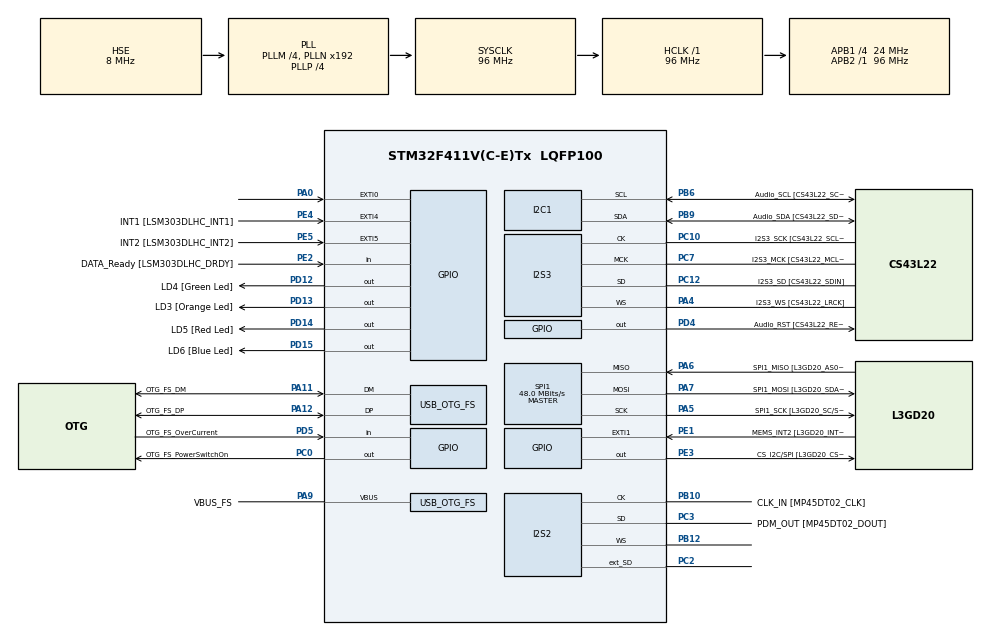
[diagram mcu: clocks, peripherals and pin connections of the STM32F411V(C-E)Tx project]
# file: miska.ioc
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I2S2.AudioFreq=I2S_AUDIOFREQ_96K
I2S2.ErrorAudioFreq=0.15 %
I2S2.FullDuplexMode=I2S_FULLDUPLEXMODE_ENABLE
I2S2.Instance=SPI$Index
I2S2.RealAudioFreq=96.153 KHz
I2S2.VirtualMode=I2S_MODE_MASTER
I2S3.AudioFreq=I2S_AUDIOFREQ_96K
I2S3.ErrorAudioFreq=-6.99 %
I2S3.FullDuplexMode=I2S_FULLDUPLEXMODE_DISABLE
I2S3.Instance=SPI$Index
I2S3.RealAudioFreq=89.285 KHz
I2S3.VirtualMode=I2S_MODE_MASTER
Mcu.Family=STM32F4
Mcu.Name=STM32F411V(C-E)Tx
Mcu.Package=LQFP100
NVIC.OTG_FS_IRQn=true\:0\:0\:false\:false\:true\:true\:true
NVIC.PriorityGroup=NVIC_PRIORITYGROUP_0
PA0-WKUP.GPIO_ModeDefaultEXTI=GPIO_MODE_EVT_RISING
PA0-WKUP.Signal=GPXTI0
PA10.GPIO_Label=OTG_FS_ID
PA10.Signal=USB_OTG_FS_ID
PA11.GPIO_Label=OTG_FS_DM
PA11.Mode=Device_Only
PA11.Signal=USB_OTG_FS_DM
PA12.GPIO_Label=OTG_FS_DP
PA12.Mode=Device_Only
PA12.Signal=USB_OTG_FS_DP
PA13.GPIO_Label=SWDIO
PA13.Mode=Serial_Wire
PA13.Signal=SYS_JTMS-SWDIO
PA14.GPIO_Label=SWCLK
PA14.Mode=Serial_Wire
PA14.Signal=SYS_JTCK-SWCLK
PA4.GPIO_Label=I2S3_WS [CS43L22_LRCK]
PA4.GPIO_Mode=GPIO_MODE_AF_PP
PA4.GPIO_PuPd=GPIO_NOPULL
PA4.GPIO_Speed=GPIO_SPEED_FREQ_LOW
PA4.Mode=Half_Duplex_Master
PA4.Signal=I2S3_WS
PA5.GPIO_Label=SPI1_SCK [L3GD20_SC/SPC]
PA5.Mode=Full_Duplex_Master
PA5.Signal=SPI1_SCK
PA6.GPIO_Label=SPI1_MISO [L3GD20_AS0/SDO]
PA6.Mode=Full_Duplex_Master
PA6.Signal=SPI1_MISO
PA7.GPIO_Label=SPI1_MOSI [L3GD20_SDA/SDI/SDO]
PA7.Mode=Full_Duplex_Master
PA7.Signal=SPI1_MOSI
PA9.GPIO_Label=VBUS_FS
PA9.Mode=Activate_VBUS
PA9.Signal=USB_OTG_FS_VBUS
PB10.GPIO_Label=CLK_IN [MP45DT02_CLK]
PB10.Mode=Full_Duplex_Master
PB10.Signal=I2S2_CK
PB12.Mode=Full_Duplex_Master
PB12.Signal=I2S2_WS
PB3.GPIO_Label=SWO
PB3.Signal=SYS_JTDO-SWO
PB6.GPIO_Label=Audio_SCL [CS43L22_SCL]
PB6.GPIO_Mode=GPIO_MODE_AF_OD
PB6.GPIO_PuPd=GPIO_NOPULL
PB6.GPIO_Speed=GPIO_SPEED_FREQ_LOW
PB6.Mode=I2C
PB6.Signal=I2C1_SCL
PB9.GPIO_Label=Audio_SDA [CS43L22_SDA]
PB9.GPIO_Mode=GPIO_MODE_AF_OD
PB9.GPIO_PuPd=GPIO_NOPULL
PB9.GPIO_Speed=GPIO_SPEED_FREQ_LOW
PB9.Mode=I2C
PB9.Signal=I2C1_SDA
PC0.GPIO_Label=OTG_FS_PowerSwitchOn
PC0.PinState=GPIO_PIN_SET
PC0.Signal=GPIO_Output
PC10.GPIO_Label=I2S3_SCK [CS43L22_SCLK]
PC10.GPIO_Mode=GPIO_MODE_AF_PP
PC10.GPIO_PuPd=GPIO_NOPULL
PC10.GPIO_Speed=GPIO_SPEED_FREQ_LOW
PC10.Mode=Half_Duplex_Master
PC10.Signal=I2S3_CK
PC12.GPIO_Label=I2S3_SD [CS43L22_SDIN]
PC12.GPIO_Mode=GPIO_MODE_AF_PP
PC12.GPIO_PuPd=GPIO_NOPULL
PC12.GPIO_Speed=GPIO_SPEED_FREQ_LOW
PC12.Mode=Half_Duplex_Master
PC12.Signal=I2S3_SD
PC14-OSC32_IN.GPIO_Label=PC14-OSC32_IN
PC14-OSC32_IN.Signal=RCC_OSC32_IN
PC15-OSC32_OUT.GPIO_Label=PC15-OSC32_OUT
PC15-OSC32_OUT.Signal=RCC_OSC32_OUT
PC2.Mode=Full_Duplex_Master
PC2.Signal=I2S2_ext_SD
PC3.GPIO_Label=PDM_OUT [MP45DT02_DOUT]
PC3.Mode=Full_Duplex_Master
PC3.Signal=I2S2_SD
PC7.GPIO_Label=I2S3_MCK [CS43L22_MCLK]
PC7.GPIO_Mode=GPIO_MODE_AF_PP
PC7.GPIO_PuPd=GPIO_NOPULL
PC7.GPIO_Speed=GPIO_SPEED_FREQ_LOW
PC7.Mode=Master_Clock_Activated
PC7.Signal=I2S3_MCK
PD12.GPIO_Label=LD4 [Green Led]
PD12.GPIO_PuPd=GPIO_NOPULL
PD12.GPIO_Speed=GPIO_SPEED_FREQ_LOW
PD12.Signal=GPIO_Output
PD13.GPIO_Label=LD3 [Orange Led]
PD13.GPIO_PuPd=GPIO_NOPULL
PD13.GPIO_Speed=GPIO_SPEED_FREQ_LOW
PD13.Signal=GPIO_Output
PD14.GPIO_Label=LD5 [Red Led]
PD14.GPIO_PuPd=GPIO_NOPULL
PD14.GPIO_Speed=GPIO_SPEED_FREQ_LOW
PD14.Signal=GPIO_Output
PD15.GPIO_Label=LD6 [Blue Led]
PD15.GPIO_PuPd=GPIO_NOPULL
PD15.GPIO_Speed=GPIO_SPEED_FREQ_LOW
PD15.Signal=GPIO_Output
PD4.GPIO_Label=Audio_RST [CS43L22_RESET]
PD4.Signal=GPIO_Output
PD5.GPIO_Label=OTG_FS_OverCurrent
PD5.Signal=GPIO_Input
PE1.GPIO_Label=MEMS_INT2 [L3GD20_INT2]
PE1.GPIO_ModeDefaultEXTI=GPIO_MODE_EVT_RISING
PE1.Signal=GPXTI1
PE2.GPIO_Label=DATA_Ready [LSM303DLHC_DRDY]
PE2.Signal=GPIO_Input
PE3.GPIO_Label=CS_I2C/SPI [L3GD20_CS_I2C/SPI]
PE3.Signal=GPIO_Output
PE4.GPIO_Label=INT1 [LSM303DLHC_INT1]
PE4.GPIO_ModeDefaultEXTI=GPIO_MODE_EVT_RISING
PE4.Signal=GPXTI4
PE5.GPIO_Label=INT2 [LSM303DLHC_INT2]
PE5.GPIO_ModeDefaultEXTI=GPIO_MODE_EVT_RISING
PE5.Signal=GPXTI5
PH0\ -\ OSC_IN.GPIO_Label=PH0-OSC_IN
PH0\ -\ OSC_IN.Mode=HSE-External-Oscillator
PH0\ -\ OSC_IN.Signal=RCC_OSC_IN
PH1\ -\ OSC_OUT.GPIO_Label=PH1-OSC_OUT
PH1\ -\ OSC_OUT.Mode=HSE-External-Oscillator
PH1\ -\ OSC_OUT.Signal=RCC_OSC_OUT
ProjectManager.HeapSize=0x200
ProjectManager.StackSize=0x400
ProjectManager.TargetToolchain=STM32CubeIDE
RCC.48MHZClocksFreq_Value=48000000
RCC.AHBFreq_Value=96000000
RCC.APB1CLKDivider=RCC_HCLK_DIV4
RCC.APB1Freq_Value=24000000
RCC.APB1TimFreq_Value=48000000
RCC.APB2Freq_Value=96000000
RCC.APB2TimFreq_Value=96000000
RCC.CortexFreq_Value=96000000
RCC.HCLKFreq_Value=96000000
RCC.HSE_VALUE=8000000
RCC.HSI_VALUE=16000000
RCC.PLLI2SM=5
RCC.PLLI2SN=200
RCC.PLLM=4
RCC.PLLP=RCC_PLLP_DIV4
RCC.PLLQ=8
RCC.SYSCLKFreq_VALUE=96000000
RCC.SYSCLKSource=RCC_SYSCLKSOURCE_PLLCLK
RCC.VCOOutputFreq_Value=384000000
SPI1.BaudRatePrescaler=SPI_BAUDRATEPRESCALER_2
SPI1.CalculateBaudRate=48.0 MBits/s
SPI1.Direction=SPI_DIRECTION_2LINES
SPI1.Mode=SPI_MODE_MASTER
SPI1.VirtualType=VM_MASTER
USB_DEVICE.CLASS_NAME_FS=HID
USB_DEVICE.VirtualMode=Hid
USB_DEVICE.VirtualModeFS=Hid_FS
USB_OTG_FS.VirtualMode=Device_Only
VP_USB_DEVICE_VS_USB_DEVICE_HID_FS.Mode=HID_FS
board=STM32F411E-DISCO

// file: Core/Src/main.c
/* USER CODE BEGIN Header */
/**
  ******************************************************************************
  * @file           : main.c
  * @brief          : Main program body
  ******************************************************************************
  * @attention
  *
  * <h2><center>&copy; Copyright (c) 2020 STMicroelectronics.
  * All rights reserved.</center></h2>
  *
  * This software component is licensed by ST under Ultimate Liberty license
  * SLA0044, the "License"; You may not use this file except in compliance with
  * the License. You may obtain a copy of the License at:
  *                             www.st.com/SLA0044
  *
  ******************************************************************************
  */
/* USER CODE END Header */
#include "main.h"
#include "usb_device.h"

/* USER CODE BEGIN Includes */

#include "usbd_hid.h"

/* USER CODE END Includes */

I2C_HandleTypeDef hi2c1;

I2S_HandleTypeDef hi2s2;
I2S_HandleTypeDef hi2s3;

SPI_HandleTypeDef hspi1;

/* USER CODE BEGIN PV */

extern USBD_HandleTypeDef hUsbDeviceFS;

/* USER CODE END PV */

void SystemClock_Config(void);
static void MX_GPIO_Init(void);
static void MX_I2C1_Init(void);
static void MX_I2S2_Init(void);
static void MX_I2S3_Init(void);
static void MX_SPI1_Init(void);

/* USER CODE BEGIN 0 */
int8_t porocilo[4] = {0};  // struktura za opis podatkov iz miske

uint8_t polje_x[8] = {-1, 0, 1, 1, 1, 0, -1, -1}; // zaporedje kako se bomo premikali po x osi mnozil z 31
uint8_t polje_y[8] = {1, 1, 1, 0, -1, -1, -1, 0}; // zaporedje kako se bomo premikali po y osi

void krog(){
	/*
	//porocilo[1] =- 10;  // relativni pomik po osi X // gre desno
	porocilo[2] =- 10;  // relativno pomik po osi Y // gre gor
    // spreminjamo premik kurzorja skozi cas
    porocilo[1] =- porocilo[1];
    if (porocilo[1] > 0) {
      //porocilo[2] =- porocilo[2];
    }

    // posljemo porocilo - premik miske - racunalniku
    USBD_HID_SendReport(&hUsbDeviceFS, porocilo, 4);

    HAL_GPIO_TogglePin(GPIOD, GPIO_PIN_15);

    HAL_Delay(140);
    */
	for(int i=0; i<8;i++){
		porocilo[1]=polje_x[i] * 31;
		porocilo[2]=polje_y[i] * 31;
		USBD_HID_SendReport(&hUsbDeviceFS, porocilo, 4);
	    HAL_GPIO_TogglePin(GPIOD, GPIO_PIN_15);

	    HAL_Delay(140);

	}

}

void miska_napredno(){
	// gremo desno za 419 enot
	/*
	porocilo[1] =- 419;  // gre desno
	USBD_HID_SendReport(&hUsbDeviceFS, porocilo, 4);
	HAL_Delay(140);

	porocilo[0] = 1;  // levi click stisnemo
	USBD_HID_SendReport(&hUsbDeviceFS, porocilo, 4);
	HAL_Delay(140);

	porocilo[1] =- 419;  // gre desno
	USBD_HID_SendReport(&hUsbDeviceFS, porocilo, 4);
	HAL_Delay(140);

	porocilo[0] = 0;  // levi click spustimo
	USBD_HID_SendReport(&hUsbDeviceFS, porocilo, 4);
	HAL_Delay(140);

	porocilo[3] =- 4;  // scroll
	USBD_HID_SendReport(&hUsbDeviceFS, porocilo, 4);
	HAL_Delay(140);
	*/

	porocilo[1] =- 419;  // gre desno
	while(USBD_HID_SendReport(&hUsbDeviceFS, porocilo, 4));
	HAL_Delay(140);

	porocilo[1] = 0; // da ne gremo vec desno
	porocilo[0] = 2;  // desni click stisnemo
	while(USBD_HID_SendReport(&hUsbDeviceFS, porocilo, 4));
	HAL_Delay(140);

	porocilo[0] = 0;  // desni click spustimo
	while(USBD_HID_SendReport(&hUsbDeviceFS, porocilo, 4));
	HAL_Delay(140);

	porocilo[3] =- 3;  // scroll
	while(USBD_HID_SendReport(&hUsbDeviceFS, porocilo, 4));
	HAL_Delay(140);

	porocilo[3] = 0; // da ne skrolamo vec
	porocilo[0] = 1;  // levi click stisnemo
	while(USBD_HID_SendReport(&hUsbDeviceFS, porocilo, 4));
	HAL_Delay(140);

	porocilo[0] = 0;  // levi click spustimo
	while(USBD_HID_SendReport(&hUsbDeviceFS, porocilo, 4));
	HAL_Delay(140);

	porocilo[1] = 0;
	porocilo[1] =+ 419;  // gre levo
	while(USBD_HID_SendReport(&hUsbDeviceFS, porocilo, 4));
	HAL_Delay(140);

}

/* USER CODE END 0 */

int main(void)
{

  /* MCU Configuration--------------------------------------------------------*/

  /* Reset of all peripherals, Initializes the Flash interface and the Systick. */
  HAL_Init();

  /* Configure the system clock */
  SystemClock_Config();

  /* Initialize all configured peripherals */
  MX_GPIO_Init();
  MX_I2C1_Init();
  MX_I2S2_Init();
  MX_I2S3_Init();
  MX_SPI1_Init();
  MX_USB_DEVICE_Init();
  /* USER CODE BEGIN 2 */

	uint32_t spremeni = 0; // ce moremo spremenit
	uint32_t zaporedje = 0; // kateri pritisk
	uint32_t ponovitve = 0; // ce smo liho prvic
	uint32_t ponovitve_s = 0; // ce smo sodo prvic

  /* USER CODE END 2 */

  /* Infinite loop */
  /* USER CODE BEGIN WHILE */

  while (1)
  {
	  if (HAL_GPIO_ReadPin(GPIOA, GPIO_PIN_0)){
		  // smo pritisnili gumb
		  if(spremeni == 0){
			  // prvic not
			  zaporedje++;
		  }
		  spremeni = 1;
	  }
	  else{
		  spremeni = 0;
	  }

		if(zaporedje%2 == 1){
		  // lihi pritisk
		  if(ponovitve == 0){
			  krog();
			  //miska_napredno();
			  ponovitve_s =0;
		  }
		  ponovitve++;

		}
		else if (zaporedje != 0){

		  if(ponovitve_s==0){
			  miska_napredno();
			  ponovitve = 0;
		  }
		  ponovitve_s++;
		}

    /* USER CODE END WHILE */

  }
}

void SystemClock_Config(void)
{
  RCC_OscInitTypeDef RCC_OscInitStruct = {0};
  RCC_ClkInitTypeDef RCC_ClkInitStruct = {0};
  RCC_PeriphCLKInitTypeDef PeriphClkInitStruct = {0};

  /** Configure the main internal regulator output voltage
  */
  __HAL_RCC_PWR_CLK_ENABLE();
  __HAL_PWR_VOLTAGESCALING_CONFIG(PWR_REGULATOR_VOLTAGE_SCALE1);
  /** Initializes the RCC Oscillators according to the specified parameters
  * in the RCC_OscInitTypeDef structure.
  */
  RCC_OscInitStruct.OscillatorType = RCC_OSCILLATORTYPE_HSE;
  RCC_OscInitStruct.HSEState = RCC_HSE_ON;
  RCC_OscInitStruct.PLL.PLLState = RCC_PLL_ON;
  RCC_OscInitStruct.PLL.PLLSource = RCC_PLLSOURCE_HSE;
  RCC_OscInitStruct.PLL.PLLM = 4;
  RCC_OscInitStruct.PLL.PLLN = 192;
  RCC_OscInitStruct.PLL.PLLP = RCC_PLLP_DIV4;
  RCC_OscInitStruct.PLL.PLLQ = 8;
  if (HAL_RCC_OscConfig(&RCC_OscInitStruct) != HAL_OK)
  {
    Error_Handler();
  }
  /** Initializes the CPU, AHB and APB buses clocks
  */
  RCC_ClkInitStruct.ClockType = RCC_CLOCKTYPE_HCLK|RCC_CLOCKTYPE_SYSCLK
                              |RCC_CLOCKTYPE_PCLK1|RCC_CLOCKTYPE_PCLK2;
  RCC_ClkInitStruct.SYSCLKSource = RCC_SYSCLKSOURCE_PLLCLK;
  RCC_ClkInitStruct.AHBCLKDivider = RCC_SYSCLK_DIV1;
  RCC_ClkInitStruct.APB1CLKDivider = RCC_HCLK_DIV4;
  RCC_ClkInitStruct.APB2CLKDivider = RCC_HCLK_DIV1;

  if (HAL_RCC_ClockConfig(&RCC_ClkInitStruct, FLASH_LATENCY_3) != HAL_OK)
  {
    Error_Handler();
  }
  PeriphClkInitStruct.PeriphClockSelection = RCC_PERIPHCLK_I2S;
  PeriphClkInitStruct.PLLI2S.PLLI2SN = 200;
  PeriphClkInitStruct.PLLI2S.PLLI2SM = 5;
  PeriphClkInitStruct.PLLI2S.PLLI2SR = 2;
  if (HAL_RCCEx_PeriphCLKConfig(&PeriphClkInitStruct) != HAL_OK)
  {
    Error_Handler();
  }
}

static void MX_I2C1_Init(void)
{

  hi2c1.Instance = I2C1;
  hi2c1.Init.ClockSpeed = 100000;
  hi2c1.Init.DutyCycle = I2C_DUTYCYCLE_2;
  hi2c1.Init.OwnAddress1 = 0;
  hi2c1.Init.AddressingMode = I2C_ADDRESSINGMODE_7BIT;
  hi2c1.Init.DualAddressMode = I2C_DUALADDRESS_DISABLE;
  hi2c1.Init.OwnAddress2 = 0;
  hi2c1.Init.GeneralCallMode = I2C_GENERALCALL_DISABLE;
  hi2c1.Init.NoStretchMode = I2C_NOSTRETCH_DISABLE;
  if (HAL_I2C_Init(&hi2c1) != HAL_OK)
  {
    Error_Handler();
  }

}

static void MX_I2S2_Init(void)
{

  hi2s2.Instance = SPI2;
  hi2s2.Init.Mode = I2S_MODE_MASTER_TX;
  hi2s2.Init.Standard = I2S_STANDARD_PHILIPS;
  hi2s2.Init.DataFormat = I2S_DATAFORMAT_16B;
  hi2s2.Init.MCLKOutput = I2S_MCLKOUTPUT_DISABLE;
  hi2s2.Init.AudioFreq = I2S_AUDIOFREQ_96K;
  hi2s2.Init.CPOL = I2S_CPOL_LOW;
  hi2s2.Init.ClockSource = I2S_CLOCK_PLL;
  hi2s2.Init.FullDuplexMode = I2S_FULLDUPLEXMODE_ENABLE;
  if (HAL_I2S_Init(&hi2s2) != HAL_OK)
  {
    Error_Handler();
  }

}

static void MX_I2S3_Init(void)
{

  hi2s3.Instance = SPI3;
  hi2s3.Init.Mode = I2S_MODE_MASTER_TX;
  hi2s3.Init.Standard = I2S_STANDARD_PHILIPS;
  hi2s3.Init.DataFormat = I2S_DATAFORMAT_16B;
  hi2s3.Init.MCLKOutput = I2S_MCLKOUTPUT_ENABLE;
  hi2s3.Init.AudioFreq = I2S_AUDIOFREQ_96K;
  hi2s3.Init.CPOL = I2S_CPOL_LOW;
  hi2s3.Init.ClockSource = I2S_CLOCK_PLL;
  hi2s3.Init.FullDuplexMode = I2S_FULLDUPLEXMODE_DISABLE;
  if (HAL_I2S_Init(&hi2s3) != HAL_OK)
  {
    Error_Handler();
  }

}

static void MX_SPI1_Init(void)
{

  /* SPI1 parameter configuration*/
  hspi1.Instance = SPI1;
  hspi1.Init.Mode = SPI_MODE_MASTER;
  hspi1.Init.Direction = SPI_DIRECTION_2LINES;
  hspi1.Init.DataSize = SPI_DATASIZE_8BIT;
  hspi1.Init.CLKPolarity = SPI_POLARITY_LOW;
  hspi1.Init.CLKPhase = SPI_PHASE_1EDGE;
  hspi1.Init.NSS = SPI_NSS_SOFT;
  hspi1.Init.BaudRatePrescaler = SPI_BAUDRATEPRESCALER_2;
  hspi1.Init.FirstBit = SPI_FIRSTBIT_MSB;
  hspi1.Init.TIMode = SPI_TIMODE_DISABLE;
  hspi1.Init.CRCCalculation = SPI_CRCCALCULATION_DISABLE;
  hspi1.Init.CRCPolynomial = 10;
  if (HAL_SPI_Init(&hspi1) != HAL_OK)
  {
    Error_Handler();
  }

}

static void MX_GPIO_Init(void)
{
  GPIO_InitTypeDef GPIO_InitStruct = {0};

  /* GPIO Ports Clock Enable */
  __HAL_RCC_GPIOE_CLK_ENABLE();
  __HAL_RCC_GPIOC_CLK_ENABLE();
  __HAL_RCC_GPIOH_CLK_ENABLE();
  __HAL_RCC_GPIOA_CLK_ENABLE();
  __HAL_RCC_GPIOB_CLK_ENABLE();
  __HAL_RCC_GPIOD_CLK_ENABLE();

  /*Configure GPIO pin Output Level */
  HAL_GPIO_WritePin(CS_I2C_SPI_GPIO_Port, CS_I2C_SPI_Pin, GPIO_PIN_RESET);

  /*Configure GPIO pin Output Level */
  HAL_GPIO_WritePin(OTG_FS_PowerSwitchOn_GPIO_Port, OTG_FS_PowerSwitchOn_Pin, GPIO_PIN_SET);

  /*Configure GPIO pin Output Level */
  HAL_GPIO_WritePin(GPIOD, LD4_Pin|LD3_Pin|LD5_Pin|LD6_Pin
                          |Audio_RST_Pin, GPIO_PIN_RESET);

  /*Configure GPIO pin : DATA_Ready_Pin */
  GPIO_InitStruct.Pin = DATA_Ready_Pin;
  GPIO_InitStruct.Mode = GPIO_MODE_INPUT;
  GPIO_InitStruct.Pull = GPIO_NOPULL;
  HAL_GPIO_Init(DATA_Ready_GPIO_Port, &GPIO_InitStruct);

  /*Configure GPIO pin : CS_I2C_SPI_Pin */
  GPIO_InitStruct.Pin = CS_I2C_SPI_Pin;
  GPIO_InitStruct.Mode = GPIO_MODE_OUTPUT_PP;
  GPIO_InitStruct.Pull = GPIO_NOPULL;
  GPIO_InitStruct.Speed = GPIO_SPEED_FREQ_LOW;
  HAL_GPIO_Init(CS_I2C_SPI_GPIO_Port, &GPIO_InitStruct);

  /*Configure GPIO pins : INT1_Pin INT2_Pin MEMS_INT2_Pin */
  GPIO_InitStruct.Pin = INT1_Pin|INT2_Pin|MEMS_INT2_Pin;
  GPIO_InitStruct.Mode = GPIO_MODE_EVT_RISING;
  GPIO_InitStruct.Pull = GPIO_NOPULL;
  HAL_GPIO_Init(GPIOE, &GPIO_InitStruct);

  /*Configure GPIO pin : OTG_FS_PowerSwitchOn_Pin */
  GPIO_InitStruct.Pin = OTG_FS_PowerSwitchOn_Pin;
  GPIO_InitStruct.Mode = GPIO_MODE_OUTPUT_PP;
  GPIO_InitStruct.Pull = GPIO_NOPULL;
  GPIO_InitStruct.Speed = GPIO_SPEED_FREQ_LOW;
  HAL_GPIO_Init(OTG_FS_PowerSwitchOn_GPIO_Port, &GPIO_InitStruct);

  /*Configure GPIO pin : PA0 */
  GPIO_InitStruct.Pin = GPIO_PIN_0;
  GPIO_InitStruct.Mode = GPIO_MODE_EVT_RISING;
  GPIO_InitStruct.Pull = GPIO_NOPULL;
  HAL_GPIO_Init(GPIOA, &GPIO_InitStruct);

  /*Configure GPIO pins : LD4_Pin LD3_Pin LD5_Pin LD6_Pin
                           Audio_RST_Pin */
  GPIO_InitStruct.Pin = LD4_Pin|LD3_Pin|LD5_Pin|LD6_Pin
                          |Audio_RST_Pin;
  GPIO_InitStruct.Mode = GPIO_MODE_OUTPUT_PP;
  GPIO_InitStruct.Pull = GPIO_NOPULL;
  GPIO_InitStruct.Speed = GPIO_SPEED_FREQ_LOW;
  HAL_GPIO_Init(GPIOD, &GPIO_InitStruct);

  /*Configure GPIO pin : OTG_FS_OverCurrent_Pin */
  GPIO_InitStruct.Pin = OTG_FS_OverCurrent_Pin;
  GPIO_InitStruct.Mode = GPIO_MODE_INPUT;
  GPIO_InitStruct.Pull = GPIO_NOPULL;
  HAL_GPIO_Init(OTG_FS_OverCurrent_GPIO_Port, &GPIO_InitStruct);

}

void Error_Handler(void)
{
}

/************************ (C) COPYRIGHT STMicroelectronics *****END OF FILE****/
